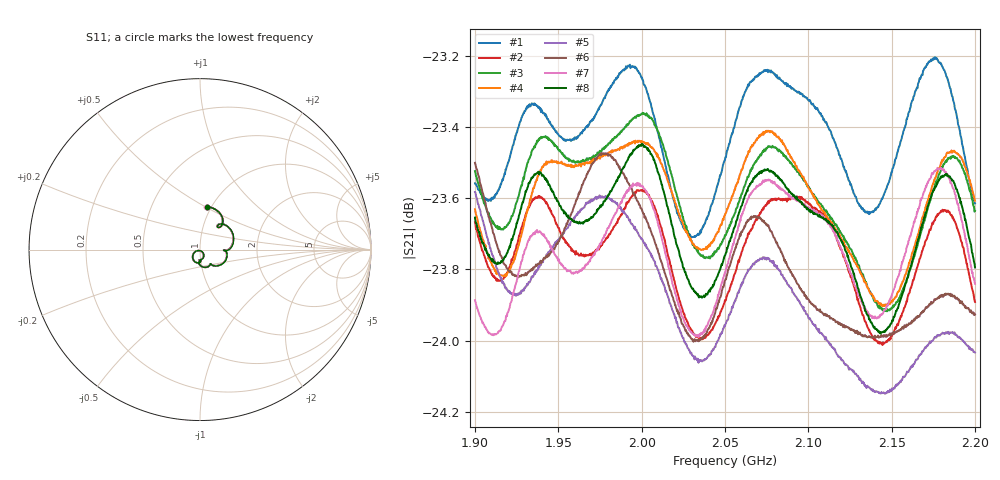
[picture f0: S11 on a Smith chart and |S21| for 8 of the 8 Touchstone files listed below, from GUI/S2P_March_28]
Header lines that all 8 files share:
# Hz S RI R 50
! CMT, CMT808U, 21440046, 21.4.3/4
! Data: Format (Calibration Info)
! Freq	S11:Re/Im(F2)	S41:Re/Im(F2)	S14:Re/Im(F2)	S44:Re/Im(F2)
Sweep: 1.9 GHz to 2.2 GHz
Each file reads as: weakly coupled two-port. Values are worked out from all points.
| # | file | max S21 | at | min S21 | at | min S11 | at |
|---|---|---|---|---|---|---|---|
| 1 | Port1.s2p | -23.20 dB | 2.176 GHz | -23.7 dB | 2.03 GHz | -42.4 dB | 2.177 GHz |
| 2 | Port3.s2p | -23.58 dB | 2.001 GHz | -24.0 dB | 2.144 GHz | -44.5 dB | 2.177 GHz |
| 3 | Port7.s2p | -23.36 dB | 2.001 GHz | -23.9 dB | 2.147 GHz | -42.6 dB | 2.177 GHz |
| 4 | Port8.s2p | -23.41 dB | 2.075 GHz | -23.9 dB | 2.146 GHz | -42.8 dB | 2.177 GHz |
| 5 | Port10.s2p | -23.58 dB | 1.9 GHz | -24.1 dB | 2.146 GHz | -43.3 dB | 2.177 GHz |
| 6 | Port11.s2p | -23.47 dB | 1.976 GHz | -24.0 dB | 2.031 GHz | -43.3 dB | 2.177 GHz |
| 7 | Port13.s2p | -23.51 dB | 2.18 GHz | -24.0 dB | 2.034 GHz | -42.3 dB | 2.178 GHz |
| 8 | Port14.s2p | -23.45 dB | 2 GHz | -24.0 dB | 2.143 GHz | -43.9 dB | 2.177 GHz |
